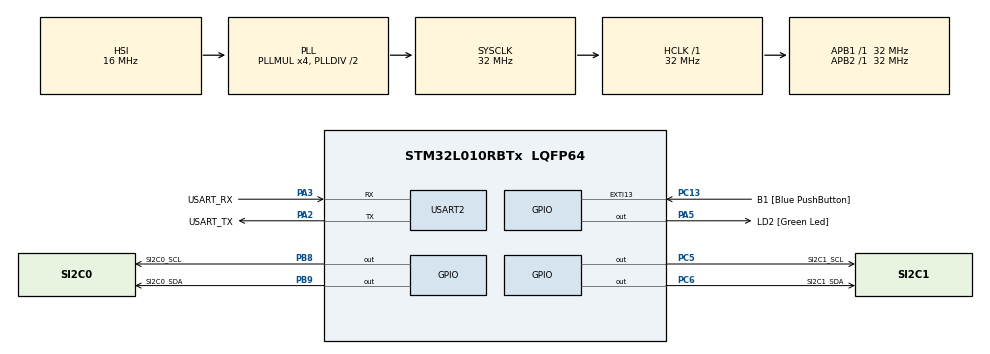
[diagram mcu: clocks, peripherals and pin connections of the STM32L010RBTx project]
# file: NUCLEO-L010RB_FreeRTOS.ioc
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FREERTOS.Queues01=gy30Queue,8,uint8_t,0,Dynamic,NULL,NULL;oledQueue,8,QueueData_t,0,Dynamic,NULL,NULL
FREERTOS.Tasks01=ledTask,16,128,StartLedTask,Default,NULL,Dynamic,NULL,NULL;GY30Task,40,256,StartGY30Task,Default,NULL,Dynamic,NULL,NULL;OLEDTask,24,256,StartOLEDTask,Default,NULL,Dynamic,NULL,NULL;RTCTask,40,256,StartRTCTask,Default,NULL,Dynamic,NULL,NULL
FREERTOS.configTOTAL_HEAP_SIZE=5120
FREERTOS.configUSE_NEWLIB_REENTRANT=1
Mcu.Family=STM32L0
Mcu.Name=STM32L010RBTx
Mcu.Package=LQFP64
NVIC.RTC_IRQn=true\:3\:0\:false\:false\:true\:true\:true\:true\:true
NVIC.TIM22_IRQn=true\:3\:0\:false\:false\:true\:false\:false\:true\:true
NVIC.TimeBase=TIM22_IRQn
NVIC.TimeBaseIP=TIM22
PA13.GPIO_Label=TMS
PA13.Mode=Serial_Wire
PA13.Signal=SYS_SWDIO
PA14.GPIO_Label=TCK
PA14.Mode=Serial_Wire
PA14.Signal=SYS_SWCLK
PA2.GPIO_Label=USART_TX
PA2.Mode=Asynchronous
PA2.Signal=USART2_TX
PA3.GPIO_Label=USART_RX
PA3.Mode=Asynchronous
PA3.Signal=USART2_RX
PA5.GPIO_Label=LD2 [Green Led]
PA5.Signal=GPIO_Output
PB8.GPIO_Label=SI2C0_SCL
PB8.Signal=GPIO_Output
PB9.GPIO_Label=SI2C0_SDA
PB9.Signal=GPIO_Output
PC13.GPIO_Label=B1 [Blue PushButton]
PC13.GPIO_ModeDefaultEXTI=GPIO_MODE_IT_FALLING
PC13.Signal=GPXTI13
PC14-OSC32_IN.Mode=LSE-External-Oscillator
PC14-OSC32_IN.Signal=RCC_OSC32_IN
PC15-OSC32_OUT.Mode=LSE-External-Oscillator
PC15-OSC32_OUT.Signal=RCC_OSC32_OUT
PC5.GPIO_Label=SI2C1_SCL
PC5.Signal=GPIO_Output
PC6.GPIO_Label=SI2C1_SDA
PC6.Signal=GPIO_Output
PH0-OSC_IN.GPIO_Label=MCO
PH0-OSC_IN.Mode=HSE-External-Clock-Source
PH0-OSC_IN.Signal=RCC_OSC_IN
ProjectManager.HeapSize=0x200
ProjectManager.StackSize=0x400
ProjectManager.TargetToolchain=STM32CubeIDE
RCC.AHBFreq_Value=32000000
RCC.APB1Freq_Value=32000000
RCC.APB1TimFreq_Value=32000000
RCC.APB2Freq_Value=32000000
RCC.APB2TimFreq_Value=32000000
RCC.HCLKFreq_Value=32000000
RCC.HSE_VALUE=8000000
RCC.HSI16_VALUE=16000000
RCC.HSI48_VALUE=48000000
RCC.HSI_VALUE=16000000
RCC.MSI_VALUE=2097000
RCC.PLLMUL=RCC_PLLMUL_4
RCC.RTCClockSelection=RCC_RTCCLKSOURCE_LSE
RCC.RTCClockSelectionVirtual=RCC_RTCCLKSOURCE_LSE
RCC.SYSCLKFreq_VALUE=32000000
RCC.SYSCLKSource=RCC_SYSCLKSOURCE_PLLCLK
RCC.VCOOutputFreq_Value=64000000
RTC.Alarm-Alarm\ A=RTC_ALARM_A
RTC.AlarmMaskDateWeekDay-Alarm\ A=RTC_ALARMMASK_DATEWEEKDAY
RTC.AlarmMaskHours-Alarm\ A=RTC_ALARMMASK_HOURS
RTC.AlarmMaskMinutes-Alarm\ A=RTC_ALARMMASK_MINUTES
RTC.AlarmMaskSeconds-Alarm\ A=RTC_ALARMMASK_SECONDS
RTC.WeekDay=RTC_WEEKDAY_SUNDAY
RTC.Year=53
USART2.VirtualMode-Asynchronous=VM_ASYNC
VP_FREERTOS_VS_CMSIS_V2.Mode=CMSIS_V2
VP_RTC_VS_RTC_Activate.Mode=RTC_Enabled
VP_RTC_VS_RTC_Alarm_A_Intern.Mode=Alarm A
VP_RTC_VS_RTC_Calendar.Mode=RTC_Calendar
VP_SYS_VS_tim22.Mode=TIM22
board=NUCLEO-L010RB

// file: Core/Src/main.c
/* USER CODE BEGIN Header */
/**
  ******************************************************************************
  * @file           : main.c
  * @brief          : Main program body
  ******************************************************************************
  * @attention
  *
  * Copyright (c) 2022 STMicroelectronics.
  * All rights reserved.
  *
  * This software is licensed under terms that can be found in the LICENSE file
  * in the root directory of this software component.
  * If no LICENSE file comes with this software, it is provided AS-IS.
  *
  ******************************************************************************
  */
/* USER CODE END Header */
#include "main.h"
#include "cmsis_os.h"

/* USER CODE BEGIN Includes */
#include "FreeRTOS.h"
#include "task.h"
#include "queue.h"
#include <Drivers/Simulation/SI2C.h>
#include "device_tree.h"
#include "easy_log.h"
#include "ssd1306.h"
#include "gy30.h"
/* USER CODE END Includes */

/* USER CODE BEGIN PTD */
typedef struct __QueueData_t{
	uint8_t		send_task;
	uint8_t		received_task;
	char		*message;
	uint32_t	message_size;
	uint32_t	arg;			///< reserved (must be 0)
} QueueData_t;
/* USER CODE END PTD */

RTC_HandleTypeDef hrtc;

UART_HandleTypeDef huart2;

/* Definitions for ledTask */
osThreadId_t ledTaskHandle;
const osThreadAttr_t ledTask_attributes = {
  .name = "ledTask",
  .stack_size = 128 * 4,
  .priority = (osPriority_t) osPriorityBelowNormal,
};
/* Definitions for GY30Task */
osThreadId_t GY30TaskHandle;
const osThreadAttr_t GY30Task_attributes = {
  .name = "GY30Task",
  .stack_size = 256 * 4,
  .priority = (osPriority_t) osPriorityHigh,
};
/* Definitions for OLEDTask */
osThreadId_t OLEDTaskHandle;
const osThreadAttr_t OLEDTask_attributes = {
  .name = "OLEDTask",
  .stack_size = 256 * 4,
  .priority = (osPriority_t) osPriorityNormal,
};
/* Definitions for RTCTask */
osThreadId_t RTCTaskHandle;
const osThreadAttr_t RTCTask_attributes = {
  .name = "RTCTask",
  .stack_size = 256 * 4,
  .priority = (osPriority_t) osPriorityHigh,
};
/* Definitions for gy30Queue */
osMessageQueueId_t gy30QueueHandle;
const osMessageQueueAttr_t gy30Queue_attributes = {
  .name = "gy30Queue"
};
/* Definitions for oledQueue */
osMessageQueueId_t oledQueueHandle;
const osMessageQueueAttr_t oledQueue_attributes = {
  .name = "oledQueue"
};
/* USER CODE BEGIN PV */
//uint8_t         txBuffer[1];
//uint8_t         rxBuffer[2];
SI2C_Handle      si2c0;
SI2C_Params      si2c0Params;
SI2C_Handle      si2c1;
SI2C_Params      si2c1Params;
//SI2C_Transaction si2cTransaction;
/* USER CODE END PV */

void SystemClock_Config(void);
static void MX_GPIO_Init(void);
static void MX_USART2_UART_Init(void);
static void MX_RTC_Init(void);
void StartLedTask(void *argument);
void StartGY30Task(void *argument);
void StartOLEDTask(void *argument);
void StartRTCTask(void *argument);

int main(void)
{

  /* MCU Configuration--------------------------------------------------------*/

  /* Reset of all peripherals, Initializes the Flash interface and the Systick. */
  HAL_Init();

  /* Configure the system clock */
  SystemClock_Config();

  /* Initialize all configured peripherals */
  MX_GPIO_Init();
  MX_USART2_UART_Init();
  MX_RTC_Init();
  /* USER CODE BEGIN 2 */
  SI2C_init();
  /* USER CODE END 2 */

  /* Init scheduler */
  osKernelInitialize();

  /* Create the queue(s) */
  /* creation of gy30Queue */
  gy30QueueHandle = osMessageQueueNew (8, sizeof(uint8_t), &gy30Queue_attributes);

  /* creation of oledQueue */
  oledQueueHandle = osMessageQueueNew (8, sizeof(QueueData_t), &oledQueue_attributes);

  /* Create the thread(s) */
  /* creation of ledTask */
  ledTaskHandle = osThreadNew(StartLedTask, NULL, &ledTask_attributes);

  /* creation of GY30Task */
  GY30TaskHandle = osThreadNew(StartGY30Task, NULL, &GY30Task_attributes);

  /* creation of OLEDTask */
  OLEDTaskHandle = osThreadNew(StartOLEDTask, NULL, &OLEDTask_attributes);

  /* creation of RTCTask */
  RTCTaskHandle = osThreadNew(StartRTCTask, NULL, &RTCTask_attributes);

  /* Start scheduler */
  osKernelStart();

  /* We should never get here as control is now taken by the scheduler */
  /* Infinite loop */
  while (1)
  {

  }
}

void SystemClock_Config(void)
{
  RCC_OscInitTypeDef RCC_OscInitStruct = {0};
  RCC_ClkInitTypeDef RCC_ClkInitStruct = {0};
  RCC_PeriphCLKInitTypeDef PeriphClkInit = {0};

  /** Configure the main internal regulator output voltage
  */
  __HAL_PWR_VOLTAGESCALING_CONFIG(PWR_REGULATOR_VOLTAGE_SCALE1);

  /** Configure LSE Drive Capability
  */
  HAL_PWR_EnableBkUpAccess();
  __HAL_RCC_LSEDRIVE_CONFIG(RCC_LSEDRIVE_LOW);

  /** Initializes the RCC Oscillators according to the specified parameters
  * in the RCC_OscInitTypeDef structure.
  */
  RCC_OscInitStruct.OscillatorType = RCC_OSCILLATORTYPE_HSI|RCC_OSCILLATORTYPE_LSE;
  RCC_OscInitStruct.LSEState = RCC_LSE_ON;
  RCC_OscInitStruct.HSIState = RCC_HSI_ON;
  RCC_OscInitStruct.HSICalibrationValue = RCC_HSICALIBRATION_DEFAULT;
  RCC_OscInitStruct.PLL.PLLState = RCC_PLL_ON;
  RCC_OscInitStruct.PLL.PLLSource = RCC_PLLSOURCE_HSI;
  RCC_OscInitStruct.PLL.PLLMUL = RCC_PLLMUL_4;
  RCC_OscInitStruct.PLL.PLLDIV = RCC_PLLDIV_2;
  if (HAL_RCC_OscConfig(&RCC_OscInitStruct) != HAL_OK)
  {
    Error_Handler();
  }

  /** Initializes the CPU, AHB and APB buses clocks
  */
  RCC_ClkInitStruct.ClockType = RCC_CLOCKTYPE_HCLK|RCC_CLOCKTYPE_SYSCLK
                              |RCC_CLOCKTYPE_PCLK1|RCC_CLOCKTYPE_PCLK2;
  RCC_ClkInitStruct.SYSCLKSource = RCC_SYSCLKSOURCE_PLLCLK;
  RCC_ClkInitStruct.AHBCLKDivider = RCC_SYSCLK_DIV1;
  RCC_ClkInitStruct.APB1CLKDivider = RCC_HCLK_DIV1;
  RCC_ClkInitStruct.APB2CLKDivider = RCC_HCLK_DIV1;

  if (HAL_RCC_ClockConfig(&RCC_ClkInitStruct, FLASH_LATENCY_1) != HAL_OK)
  {
    Error_Handler();
  }
  PeriphClkInit.PeriphClockSelection = RCC_PERIPHCLK_USART2|RCC_PERIPHCLK_RTC;
  PeriphClkInit.Usart2ClockSelection = RCC_USART2CLKSOURCE_PCLK1;
  PeriphClkInit.RTCClockSelection = RCC_RTCCLKSOURCE_LSE;
  if (HAL_RCCEx_PeriphCLKConfig(&PeriphClkInit) != HAL_OK)
  {
    Error_Handler();
  }
}

static void MX_RTC_Init(void)
{

  RTC_TimeTypeDef sTime = {0};
  RTC_DateTypeDef sDate = {0};
  RTC_AlarmTypeDef sAlarm = {0};

  /** Initialize RTC Only
  */
  hrtc.Instance = RTC;
  hrtc.Init.HourFormat = RTC_HOURFORMAT_24;
  hrtc.Init.AsynchPrediv = 127;
  hrtc.Init.SynchPrediv = 255;
  hrtc.Init.OutPut = RTC_OUTPUT_DISABLE;
  hrtc.Init.OutPutRemap = RTC_OUTPUT_REMAP_NONE;
  hrtc.Init.OutPutPolarity = RTC_OUTPUT_POLARITY_HIGH;
  hrtc.Init.OutPutType = RTC_OUTPUT_TYPE_OPENDRAIN;
  if (HAL_RTC_Init(&hrtc) != HAL_OK)
  {
    Error_Handler();
  }

  /** Initialize RTC and set the Time and Date
  */
  sTime.Hours = 0x0;
  sTime.Minutes = 0x0;
  sTime.Seconds = 0x0;
  sTime.DayLightSaving = RTC_DAYLIGHTSAVING_NONE;
  sTime.StoreOperation = RTC_STOREOPERATION_RESET;
  if (HAL_RTC_SetTime(&hrtc, &sTime, RTC_FORMAT_BCD) != HAL_OK)
  {
    Error_Handler();
  }
  sDate.WeekDay = RTC_WEEKDAY_SUNDAY;
  sDate.Month = RTC_MONTH_JANUARY;
  sDate.Date = 0x1;
  sDate.Year = 0x53;

  if (HAL_RTC_SetDate(&hrtc, &sDate, RTC_FORMAT_BCD) != HAL_OK)
  {
    Error_Handler();
  }

  /** Enable the Alarm A
  */
  sAlarm.AlarmTime.Hours = 0x0;
  sAlarm.AlarmTime.Minutes = 0x0;
  sAlarm.AlarmTime.Seconds = 0x0;
  sAlarm.AlarmTime.SubSeconds = 0x0;
  sAlarm.AlarmTime.DayLightSaving = RTC_DAYLIGHTSAVING_NONE;
  sAlarm.AlarmTime.StoreOperation = RTC_STOREOPERATION_RESET;
  sAlarm.AlarmMask = RTC_ALARMMASK_ALL;
  sAlarm.AlarmSubSecondMask = RTC_ALARMSUBSECONDMASK_ALL;
  sAlarm.AlarmDateWeekDaySel = RTC_ALARMDATEWEEKDAYSEL_DATE;
  sAlarm.AlarmDateWeekDay = 0x1;
  sAlarm.Alarm = RTC_ALARM_A;
  if (HAL_RTC_SetAlarm_IT(&hrtc, &sAlarm, RTC_FORMAT_BCD) != HAL_OK)
  {
    Error_Handler();
  }

}

static void MX_USART2_UART_Init(void)
{

  huart2.Instance = USART2;
  huart2.Init.BaudRate = 115200;
  huart2.Init.WordLength = UART_WORDLENGTH_8B;
  huart2.Init.StopBits = UART_STOPBITS_1;
  huart2.Init.Parity = UART_PARITY_NONE;
  huart2.Init.Mode = UART_MODE_TX_RX;
  huart2.Init.HwFlowCtl = UART_HWCONTROL_NONE;
  huart2.Init.OverSampling = UART_OVERSAMPLING_16;
  huart2.Init.OneBitSampling = UART_ONE_BIT_SAMPLE_DISABLE;
  huart2.AdvancedInit.AdvFeatureInit = UART_ADVFEATURE_NO_INIT;
  if (HAL_UART_Init(&huart2) != HAL_OK)
  {
    Error_Handler();
  }

}

static void MX_GPIO_Init(void)
{
  GPIO_InitTypeDef GPIO_InitStruct = {0};

  /* GPIO Ports Clock Enable */
  __HAL_RCC_GPIOC_CLK_ENABLE();
  __HAL_RCC_GPIOH_CLK_ENABLE();
  __HAL_RCC_GPIOA_CLK_ENABLE();
  __HAL_RCC_GPIOB_CLK_ENABLE();

  /*Configure GPIO pin Output Level */
  HAL_GPIO_WritePin(LD2_GPIO_Port, LD2_Pin, GPIO_PIN_RESET);

  /*Configure GPIO pin Output Level */
  HAL_GPIO_WritePin(GPIOC, SI2C1_SCL_Pin|SI2C1_SDA_Pin, GPIO_PIN_RESET);

  /*Configure GPIO pin Output Level */
  HAL_GPIO_WritePin(GPIOB, SI2C0_SCL_Pin|SI2C0_SDA_Pin, GPIO_PIN_RESET);

  /*Configure GPIO pin : B1_Pin */
  GPIO_InitStruct.Pin = B1_Pin;
  GPIO_InitStruct.Mode = GPIO_MODE_IT_FALLING;
  GPIO_InitStruct.Pull = GPIO_NOPULL;
  HAL_GPIO_Init(B1_GPIO_Port, &GPIO_InitStruct);

  /*Configure GPIO pin : LD2_Pin */
  GPIO_InitStruct.Pin = LD2_Pin;
  GPIO_InitStruct.Mode = GPIO_MODE_OUTPUT_PP;
  GPIO_InitStruct.Pull = GPIO_NOPULL;
  GPIO_InitStruct.Speed = GPIO_SPEED_FREQ_LOW;
  HAL_GPIO_Init(LD2_GPIO_Port, &GPIO_InitStruct);

  /*Configure GPIO pins : SI2C1_SCL_Pin SI2C1_SDA_Pin */
  GPIO_InitStruct.Pin = SI2C1_SCL_Pin|SI2C1_SDA_Pin;
  GPIO_InitStruct.Mode = GPIO_MODE_OUTPUT_PP;
  GPIO_InitStruct.Pull = GPIO_NOPULL;
  GPIO_InitStruct.Speed = GPIO_SPEED_FREQ_LOW;
  HAL_GPIO_Init(GPIOC, &GPIO_InitStruct);

  /*Configure GPIO pins : SI2C0_SCL_Pin SI2C0_SDA_Pin */
  GPIO_InitStruct.Pin = SI2C0_SCL_Pin|SI2C0_SDA_Pin;
  GPIO_InitStruct.Mode = GPIO_MODE_OUTPUT_PP;
  GPIO_InitStruct.Pull = GPIO_NOPULL;
  GPIO_InitStruct.Speed = GPIO_SPEED_FREQ_LOW;
  HAL_GPIO_Init(GPIOB, &GPIO_InitStruct);

}

/* USER CODE BEGIN 4 */
void HAL_RTC_AlarmAEventCallback(RTC_HandleTypeDef *hrtc)
{
	BaseType_t xHigherPriorityTaskWoken;
	uint32_t ulStatusAlarm = 0x01;

	xHigherPriorityTaskWoken = pdFALSE;
	xTaskNotifyFromISR( RTCTaskHandle, ulStatusAlarm, eSetBits, &xHigherPriorityTaskWoken );
	portYIELD_FROM_ISR(xHigherPriorityTaskWoken);
}
/* USER CODE END 4 */

void StartLedTask(void *argument)
{
  /* USER CODE BEGIN 5 */
  /* Infinite loop */
	printf("Led task is run\r\n");

	for(;;)
	{
//		printf("Toggle LED\r\n");
		HAL_GPIO_TogglePin(LD2_GPIO_Port, LD2_Pin);
		osDelay(3000);
	}
  /* USER CODE END 5 */
}

void StartGY30Task(void *argument)
{
  /* USER CODE BEGIN StartGY30Task */
	uint32_t ulNotifiedValue;

	uint16_t lux;
	char lux_value[5] = "0000";
	unsigned char size;

	QueueData_t lux_queue = {
			.send_task		= TASK_GY30,
			.received_task	= TASK_OLED,
			.message		= lux_value,
			.message_size	= sizeof(lux_value),
			.arg			= 0
	};

	printf("GY-30 task is run\r\n");
	osDelay(200);

	/* GY-30 Software IIC init */
	SI2C_Params_init(&si2c0Params);
	si2c0Params.bitRate = SI2C_100kHz;
	si2c0Params.slaveAddress = GY30_I2C_ADDR;
	si2c0 = SI2C_open(DEVICE_SI2C0, &si2c0Params);
	if (si2c0 == NULL) {
	  printf("Error Initializing SI2C0\r\n");
	  while (1);
	}
	else {
	  printf("SI2C0 Initialized!\r\n");
	}

	GY30_Init(si2c0);
	osDelay(100);

  /* Infinite loop */
	for(;;)
	{
		xTaskNotifyWait( 0x00, 0xffffffff, &ulNotifiedValue, portMAX_DELAY );

		lux = GY30_Measurement(si2c0);
		printf("Illumination is: %d lux.\r\n", lux);

		int_to_ascii( (int)lux, lux_queue.message, &size, 4, ' ' );

		if( xQueueSend( oledQueueHandle, &lux_queue, ( TickType_t ) 0 ) != pdPASS )
		{
			printf("GY-30 Send, oled Queue is Full\r\n");
		}
	}
  /* USER CODE END StartGY30Task */
}

void StartOLEDTask(void *argument)
{
  /* USER CODE BEGIN StartOLEDTask */
	BaseType_t xReturn = pdTRUE;
	QueueData_t oled_queue;

	uint8_t oled_counter = 0;

	printf("oled task is run\r\n");
	osDelay(500);

	/* OLED Software IIC init */
	SI2C_Params_init(&si2c1Params);
	si2c1Params.bitRate = SI2C_100kHz;
	si2c1Params.slaveAddress = SSD1306_I2C_ADDR;
	si2c1 = SI2C_open(DEVICE_SI2C1, &si2c1Params);
	if (si2c1 == NULL) {
	  printf("Error Initializing SI2C1\r\n");
	  while (1);
	}
	else {
	  printf("SI2C1 Initialized!\r\n");
	}

	OLED_Init(si2c1);
	SSD1306_Monochrome(si2c1, SSD1306_COLOR_BLACK);

  /* Infinite loop */
	for(;;)
	{
		xReturn = xQueueReceive( oledQueueHandle, &oled_queue, portMAX_DELAY);
		if(pdPASS == xReturn)
		{
			switch (oled_queue.send_task)
			{
			case TASK_RTC :
				SSD1306_SetCursor(8, 0);
				SSD1306_WriteString(oled_queue.message, Font_7x10, SSD1306_COLOR_WHITE);
				break;
			case TASK_GY30 :
				SSD1306_SetCursor(8, 36);
				SSD1306_WriteString(oled_queue.message, Font_7x10, SSD1306_COLOR_WHITE);
				SSD1306_SetCursor(43, 36);
				SSD1306_WriteString("lux", Font_7x10, SSD1306_COLOR_WHITE);
				break;
			default:
				break;
			}
		}

		if( (oled_counter >= 0) && (oled_counter < 10) )
		{
			SSD1306_ON(si2c1);
			SSD1306_UpdateScreen(si2c1);
		}
		if( (oled_counter >= 10) && (oled_counter < 30) )
		{
			SSD1306_OFF(si2c1);
		}
		if( oled_counter == 30 )
		{
			oled_counter = 0;
		}
		oled_counter++;
	}
  /* USER CODE END StartOLEDTask */
}

void StartRTCTask(void *argument)
{
  /* USER CODE BEGIN StartRTCTask */
	uint32_t ulNotifiedValue;
	uint32_t ulStatusRTC = 0x01;

	RTC_TimeTypeDef sTime = {0};
	RTC_DateTypeDef sDate = {0};

	char rtc_time[17] = "2023/01/01-00:00";
	unsigned char size;

	QueueData_t rtc_queue = {
			.send_task		= TASK_RTC,
			.received_task	= TASK_OLED,
			.message		= rtc_time,
			.message_size	= sizeof(rtc_time),
			.arg			= 0
	};

	uint8_t rtc_counter = 1;

  /* Infinite loop */
	for(;;)
	{
		xTaskNotifyWait( 0x00, 0xffffffff, &ulNotifiedValue, portMAX_DELAY );

		if (HAL_RTC_GetTime(&hrtc, &sTime, RTC_FORMAT_BIN) != HAL_OK)
		{
			Error_Handler();
		}
		if (HAL_RTC_GetDate(&hrtc, &sDate, RTC_FORMAT_BIN) != HAL_OK)
		{
			Error_Handler();
		}
//		printf("%02d/%02d/%02d-%02d:%02d:%02d\r\n", 1970 + sDate.Year, sDate.Month, sDate.Date, sTime.Hours, sTime.Minutes, sTime.Seconds);

		int_to_ascii( (int)(1970 + sDate.Year), rtc_queue.message, &size, 4, '0' );
		int_to_ascii( (int)(sDate.Month), rtc_queue.message + 5, &size, 2, '0' );
		int_to_ascii( (int)(sDate.Date), rtc_queue.message + 8, &size, 2, '0' );
		int_to_ascii( (int)(sTime.Hours), rtc_queue.message + 11, &size, 2, '0' );
		int_to_ascii( (int)(sTime.Minutes), rtc_queue.message + 14, &size, 2, '0' );

		if( (rtc_counter == 0) || (rtc_counter == 60) )
		{
			printf("%s\r\n", rtc_time);
			if( xQueueSend( oledQueueHandle, &rtc_queue, ( TickType_t ) 0 ) != pdPASS )
			{
				printf("RTC Send, oled Queue is Full\r\n");
			}

			rtc_counter = 0;
		}

		if( (rtc_counter % 3) == 0 )
		{
			xTaskNotify( GY30TaskHandle, ulStatusRTC, eSetBits );
		}

		rtc_counter++;
	}
  /* USER CODE END StartRTCTask */
}

void HAL_TIM_PeriodElapsedCallback(TIM_HandleTypeDef *htim)
{
  if (htim->Instance == TIM22) {
    HAL_IncTick();
  }
}

void Error_Handler(void)
{
  __disable_irq();
  while (1)
  {
  }
}
